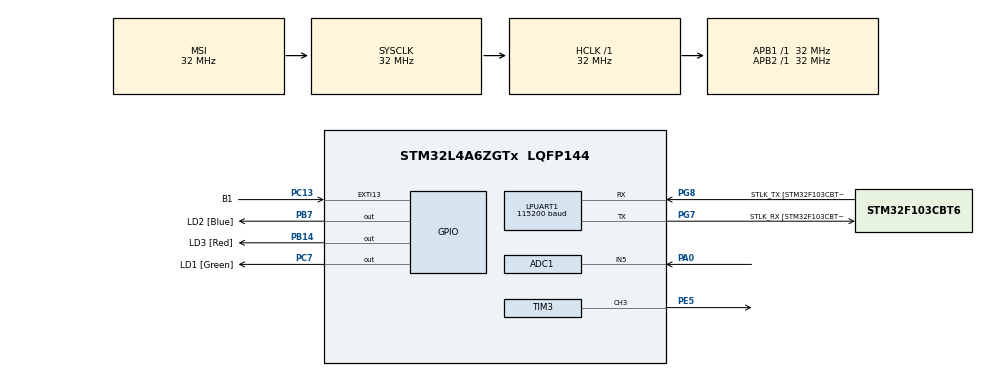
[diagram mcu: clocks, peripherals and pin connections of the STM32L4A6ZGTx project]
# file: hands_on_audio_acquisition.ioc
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ADC1.Channel-0\#ChannelRegularConversion=ADC_CHANNEL_5
ADC1.DMAContinuousRequests=DISABLE
ADC1.ExternalTrigConv=ADC_EXTERNALTRIG_T3_TRGO
ADC1.NbrOfConversionFlag=1
ADC1.OffsetNumber-0\#ChannelRegularConversion=ADC_OFFSET_NONE
ADC1.Rank-0\#ChannelRegularConversion=1
ADC1.SamplingTime-0\#ChannelRegularConversion=ADC_SAMPLETIME_2CYCLES_5
ADC1.master=1
Dma.ADC1.0.Direction=DMA_PERIPH_TO_MEMORY
Dma.ADC1.0.Instance=DMA1_Channel1
Dma.ADC1.0.MemDataAlignment=DMA_MDATAALIGN_HALFWORD
Dma.ADC1.0.MemInc=DMA_MINC_ENABLE
Dma.ADC1.0.Mode=DMA_NORMAL
Dma.ADC1.0.PeriphDataAlignment=DMA_PDATAALIGN_HALFWORD
Dma.ADC1.0.PeriphInc=DMA_PINC_DISABLE
Dma.ADC1.0.Priority=DMA_PRIORITY_LOW
Dma.Request0=ADC1
LPUART1.AutoBaudRateEnableParam=UART_ADVFEATURE_AUTOBAUDRATE_DISABLE
LPUART1.BaudRate=115200
LPUART1.DMADisableonRxErrorParam=UART_ADVFEATURE_DMA_ENABLEONRXERROR
LPUART1.DataInvertParam=UART_ADVFEATURE_DATAINV_DISABLE
LPUART1.MSBFirstParam=UART_ADVFEATURE_MSBFIRST_DISABLE
LPUART1.Mode=UART_MODE_TX_RX
LPUART1.OneBitSampling=UART_ONE_BIT_SAMPLE_DISABLE
LPUART1.OverrunDisableParam=UART_ADVFEATURE_OVERRUN_ENABLE
LPUART1.Parity=UART_PARITY_NONE
LPUART1.RxPinLevelInvertParam=UART_ADVFEATURE_RXINV_DISABLE
LPUART1.StopBits=UART_STOPBITS_1
LPUART1.SwapParam=UART_ADVFEATURE_SWAP_DISABLE
LPUART1.TxPinLevelInvertParam=UART_ADVFEATURE_TXINV_DISABLE
LPUART1.WordLength=UART_WORDLENGTH_8B
Mcu.Family=STM32L4
Mcu.Name=STM32L4A6ZGTx
Mcu.Package=LQFP144
NVIC.DMA1_Channel1_IRQn=true\:0\:0\:false\:false\:true\:false\:true\:true
NVIC.EXTI15_10_IRQn=true\:0\:0\:false\:false\:true\:true\:true\:true
NVIC.PriorityGroup=NVIC_PRIORITYGROUP_4
PA0.Signal=ADCx_IN5
PA13\ (JTMS/SWDIO).GPIO_Label=TMS
PA13\ (JTMS/SWDIO).Mode=Trace_Asynchronous_SW
PA13\ (JTMS/SWDIO).Signal=SYS_JTMS-SWDIO
PA14\ (JTCK/SWCLK).GPIO_Label=TCK
PA14\ (JTCK/SWCLK).Mode=Trace_Asynchronous_SW
PA14\ (JTCK/SWCLK).Signal=SYS_JTCK-SWCLK
PB14.GPIO_Label=LD3 [Red]
PB14.Signal=GPIO_Output
PB3\ (JTDO/TRACESWO).GPIO_Label=SWO
PB3\ (JTDO/TRACESWO).Mode=Trace_Asynchronous_SW
PB3\ (JTDO/TRACESWO).Signal=SYS_JTDO-SWO
PB7.GPIO_Label=LD2 [Blue]
PB7.Signal=GPIO_Output
PC13.GPIO_Label=B1
PC13.Signal=GPXTI13
PC14-OSC32_IN\ (PC14).Mode=LSE-External-Oscillator
PC14-OSC32_IN\ (PC14).Signal=RCC_OSC32_IN
PC15-OSC32_OUT\ (PC15).Mode=LSE-External-Oscillator
PC15-OSC32_OUT\ (PC15).Signal=RCC_OSC32_OUT
PC7.GPIO_Label=LD1 [Green]
PC7.Signal=GPIO_Output
PE5.Signal=S_TIM3_CH3
PG7.GPIO_Label=STLK_RX [STM32F103CBT6_PA3]
PG7.Mode=Asynchronous
PG7.Signal=LPUART1_TX
PG8.GPIO_Label=STLK_TX [STM32F103CBT6_PA2]
PG8.Mode=Asynchronous
PG8.Signal=LPUART1_RX
PH1-OSC_OUT\ (PH1).Signal=RCC_OSC_OUT
ProjectManager.HeapSize=0x200
ProjectManager.StackSize=0x400
ProjectManager.TargetToolchain=STM32CubeIDE
RCC.ADCCLockSelection=RCC_ADCCLKSOURCE_SYSCLK
RCC.ADCFreq_Value=32000000
RCC.AHBFreq_Value=32000000
RCC.APB1Freq_Value=32000000
RCC.APB1TimFreq_Value=32000000
RCC.APB2Freq_Value=32000000
RCC.APB2TimFreq_Value=32000000
RCC.CortexFreq_Value=32000000
RCC.FLatency=FLASH_LATENCY_1
RCC.HCLKFreq_Value=32000000
RCC.HSE_VALUE=8000000
RCC.HSI48_VALUE=48000000
RCC.HSI_VALUE=16000000
RCC.MSIClockRange=RCC_MSIRANGE_10
RCC.MSI_VALUE=32000000
RCC.PLLN=71
RCC.PLLR=RCC_PLLR_DIV6
RCC.PLLSAI1N=24
RCC.SYSCLKFreq_VALUE=32000000
RCC.USBFreq_Value=384000000
RCC.VCOOutputFreq_Value=2272000000
SH.ADCx_IN5.0=ADC1_IN5,IN5-Single-Ended
SH.S_TIM3_CH3.0=TIM3_CH3,Output Compare3 CH3
TIM3.Channel-Output\ Compare3\ CH3=TIM_CHANNEL_3
TIM3.Period=195
TIM3.Prescaler=15
TIM3.TIM_MasterOutputTrigger=TIM_TRGO_UPDATE
VP_TIM3_VS_ClockSourceINT.Mode=Internal
board=NUCLEO-L4A6ZG

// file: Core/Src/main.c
/* USER CODE BEGIN Header */
/**
  ******************************************************************************
  * @file           : main.c
  * @brief          : Main program body
  ******************************************************************************
  * @attention
  *
  * <h2><center>&copy; Copyright (c) 2021 STMicroelectronics.
  * All rights reserved.</center></h2>
  *
  * This software component is licensed by ST under BSD 3-Clause license,
  * the "License"; You may not use this file except in compliance with the
  * License. You may obtain a copy of the License at:
  *                        opensource.org/licenses/BSD-3-Clause
  *
  ******************************************************************************
  */
/* USER CODE END Header */
#include "main.h"
#include "adc.h"
#include "dma.h"
#include "usart.h"
#include "tim.h"
#include "gpio.h"

/* USER CODE BEGIN Includes */
#include <stdio.h>
#include "retarget.h"
/* USER CODE END Includes */

/* USER CODE BEGIN PD */
#define ADC_BUF_SIZE 25000
/* USER CODE END PD */

/* USER CODE BEGIN PV */

volatile uint16_t ADCBuffer[2*ADC_BUF_SIZE]; /* ADC group regular conversion data (array of data) */
volatile uint16_t* ADCData1;
volatile uint16_t* ADCData2;
volatile int CONTINUOUS_ACK;
volatile int POWER_THRESHOLD;

char hex_encoded_buffer[4*ADC_BUF_SIZE+1];
/* USER CODE END PV */

void SystemClock_Config(void);
/* USER CODE BEGIN PFP */
void hex_encode(char* s, const uint8_t* buf, size_t len);
void print_buffer(uint16_t *buffer);
uint32_t get_signal_power(uint16_t *buffer, size_t len);
/* USER CODE END PFP */

/* USER CODE BEGIN 0 */

void HAL_GPIO_EXTI_Callback(uint16_t GPIO_Pin) {
	if (GPIO_Pin == B1_Pin) {
    printf("Is listening.\n");
    CONTINUOUS_ACK = 1;

	}
}

void HAL_ADC_ConvCpltCallback(ADC_HandleTypeDef *hadc){
  HAL_TIM_Base_Stop(&htim3);
  HAL_ADC_Stop_DMA(&hadc1);

	if(POWER_THRESHOLD){
    printf("Sending the buffer \r\n");
    print_buffer(ADCData1);

	}else{
    printf("Did you send a sound ?\r\n");
    HAL_TIM_Base_Start(&htim3);
    HAL_ADC_Start_DMA(&hadc1, ADCData1, 2*ADC_BUF_SIZE);
	}
}

void HAL_ADC_ConvHalfCpltCallback(ADC_HandleTypeDef *hadc){
	uint32_t power = get_signal_power(ADCData1, ADC_BUF_SIZE);
  printf("Power: %d\r\n", power);
  if (power>100){
    POWER_THRESHOLD = 1;
  }
}

void hex_encode(char* s, const uint8_t* buf, size_t len) {
    s[2*len] = '\0';
    for (size_t i=0; i<len; i++) {
        s[i*2] = "0123456789abcdef"[buf[i] >> 4];
        s[i*2+1] = "0123456789abcdef"[buf[i] & 0xF];
    }
}

void print_buffer(uint16_t *buffer) {
	hex_encode(hex_encoded_buffer, (uint8_t*)buffer, 2*ADC_BUF_SIZE);
	printf("SND:HEX:%s\r\n", hex_encoded_buffer);
}

uint32_t get_signal_power(uint16_t *buffer, size_t len){
	uint64_t sum = 0;
	uint64_t sum2 = 0;
	for (size_t i=0; i<len; i++) {
		sum += (uint64_t) buffer[i];
		sum2 += (uint64_t) buffer[i]*(uint64_t) buffer[i];
	}
	return (uint32_t)(sum2/len - sum*sum/len/len);
}
/* USER CODE END 0 */

int main(void)
{

  /* MCU Configuration--------------------------------------------------------*/

  /* Reset of all peripherals, Initializes the Flash interface and the Systick. */
  HAL_Init();

  /* Configure the system clock */
  SystemClock_Config();

  /* Initialize all configured peripherals */
  MX_GPIO_Init();
  MX_DMA_Init();
  MX_LPUART1_UART_Init();
  MX_ADC1_Init();
  MX_TIM3_Init();
  /* USER CODE BEGIN 2 */
  RetargetInit(&hlpuart1);

  CONTINUOUS_ACK = 0;
  POWER_THRESHOLD = 0;
  ADCData1 = &ADCBuffer[0];
  ADCData2 = &ADCBuffer[ADC_BUF_SIZE];
  /* USER CODE END 2 */

  /* Infinite loop */
  /* USER CODE BEGIN WHILE */
  while (1){
    if(0) __WFI(); // Wait for interrupt
    else {
      HAL_TIM_Base_Start(&htim3);
      HAL_ADC_Start_DMA(&hadc1, ADCData1, 2*ADC_BUF_SIZE);
      CONTINUOUS_ACK = 0;
    }

    /* USER CODE END WHILE */

  }
}

void SystemClock_Config(void)
{
  RCC_OscInitTypeDef RCC_OscInitStruct = {0};
  RCC_ClkInitTypeDef RCC_ClkInitStruct = {0};

  /** Configure the main internal regulator output voltage
  */
  if (HAL_PWREx_ControlVoltageScaling(PWR_REGULATOR_VOLTAGE_SCALE1) != HAL_OK)
  {
    Error_Handler();
  }

  /** Initializes the RCC Oscillators according to the specified parameters
  * in the RCC_OscInitTypeDef structure.
  */
  RCC_OscInitStruct.OscillatorType = RCC_OSCILLATORTYPE_MSI;
  RCC_OscInitStruct.MSIState = RCC_MSI_ON;
  RCC_OscInitStruct.MSICalibrationValue = 0;
  RCC_OscInitStruct.MSIClockRange = RCC_MSIRANGE_10;
  RCC_OscInitStruct.PLL.PLLState = RCC_PLL_NONE;
  if (HAL_RCC_OscConfig(&RCC_OscInitStruct) != HAL_OK)
  {
    Error_Handler();
  }

  /** Initializes the CPU, AHB and APB buses clocks
  */
  RCC_ClkInitStruct.ClockType = RCC_CLOCKTYPE_HCLK|RCC_CLOCKTYPE_SYSCLK
                              |RCC_CLOCKTYPE_PCLK1|RCC_CLOCKTYPE_PCLK2;
  RCC_ClkInitStruct.SYSCLKSource = RCC_SYSCLKSOURCE_MSI;
  RCC_ClkInitStruct.AHBCLKDivider = RCC_SYSCLK_DIV1;
  RCC_ClkInitStruct.APB1CLKDivider = RCC_HCLK_DIV1;
  RCC_ClkInitStruct.APB2CLKDivider = RCC_HCLK_DIV1;

  if (HAL_RCC_ClockConfig(&RCC_ClkInitStruct, FLASH_LATENCY_1) != HAL_OK)
  {
    Error_Handler();
  }
}

void Error_Handler(void)
{
  /* USER CODE BEGIN Error_Handler_Debug */
  /* User can add his own implementation to report the HAL error return buttonPressed */
  __disable_irq();
  printf("Error!\r\n");
  while (1)
  {
  }
  /* USER CODE END Error_Handler_Debug */
}
